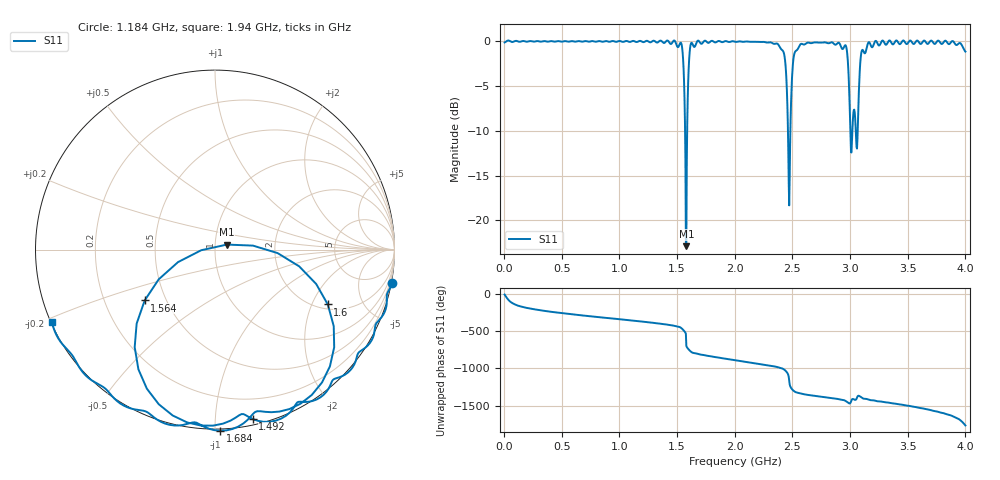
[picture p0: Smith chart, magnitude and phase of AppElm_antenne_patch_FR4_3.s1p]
! TOUCHSTONE file generated by CST MICROWAVE STUDIO
! Date and time: Tue Jun 14 13:48:51 2022
! Project name: AppElm_antenne_patch_FR4.cst
! Parameters = {L=45; W=58.5; e=0.035; h=1.6; lambda=0.190476; ls=120; w0=2.54; w1=0.847; ws=120; y0=18; y1=20.23}
! Header version: 2018
! Port assignment regex: !\s*Touchstone port\s*([0-9]+)\s*=\s*(CST MWS port|CST DS port)\s*([0-9]+|Zmin|Zmax)\s*\(\"(.*)\"\)(\s*mode\s*([0-9]+))?.*
! Touchstone port assignment:
! Touchstone port 1 = CST MWS port 1 ("")
# GHz S MA R 50
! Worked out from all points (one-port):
!   1000 points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, 4 MHz to 4 GHz, reference 50 ohm
!   lowest |S11| = -22.9 dB at 1.58 GHz (marker M1), VSWR 1.15, Z = 57 + j3.21 ohm
!   |S11| at or under -10 dB: 1.569 GHz to 1.587 GHz (18.25 MHz wide, 1.16 % of centre); 2.461 GHz to 2.482 GHz (21.26 MHz wide, 0.86 % of centre); 3.002 GHz to 3.02 GHz (17.76 MHz wide, 0.59 % of centre)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
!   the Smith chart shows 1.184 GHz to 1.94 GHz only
!   S11 on the Smith chart (normalised r, x): 1.184 GHz: -0, -11; 1.492 GHz: 0.04, -1.25; 1.564 GHz: 0.38, -0.28; 1.6 GHz: 2.21, -2.64; 1.684 GHz: -0.01, -1.03; 1.94 GHz: 0.00, -0.21
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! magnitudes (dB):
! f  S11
! 4 MHz  -0.1
! 504 MHz  0.0
! 1.004 GHz  0.0
! 1.184 GHz  0.0
! 1.492 GHz  -0.3
! 1.504 GHz  -0.6
! 1.544 GHz  -0.8
! 1.564 GHz  -6.3
! 1.58 GHz  -22.9
! 1.6 GHz  -3.1
! 1.62 GHz  -0.2
! 1.684 GHz  0.1
! 1.94 GHz  0.0
! 2.004 GHz  0.0
! 2.408 GHz  -0.9
! 2.436 GHz  -2.1
! 2.46 GHz  -9.2
! 2.472 GHz  -18.3
! 2.504 GHz  -2.6
! 2.576 GHz  -0.3
! 2.952 GHz  -0.5
! 2.976 GHz  -1.5
! 3.004 GHz  -10.9
! 3.056 GHz  -11.8
! 3.1 GHz  -1.1
! 3.156 GHz  -0.2
! 3.504 GHz  -0.1
! 4 GHz  -1.1
